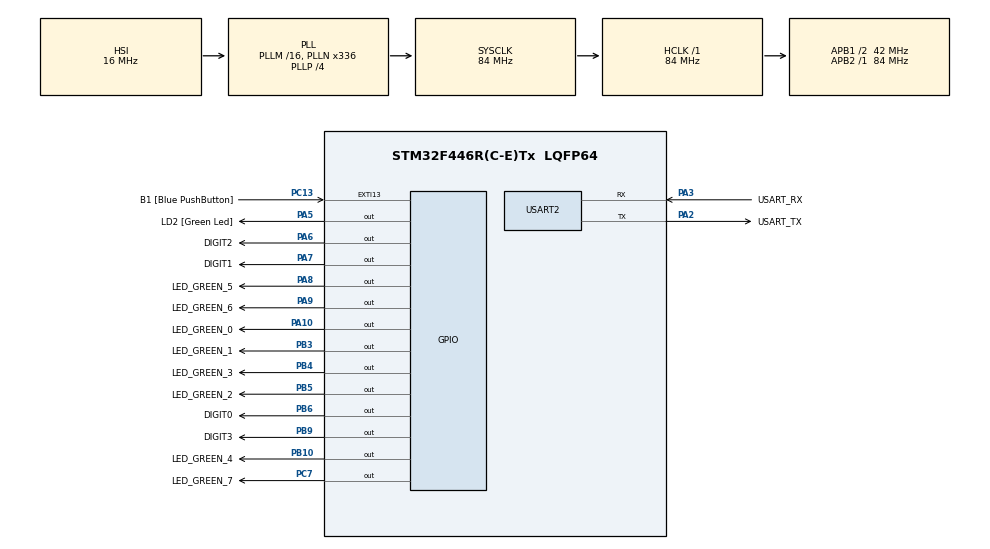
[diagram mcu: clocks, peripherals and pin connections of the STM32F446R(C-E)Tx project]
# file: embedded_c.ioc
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Mcu.Family=STM32F4
Mcu.Name=STM32F446R(C-E)Tx
Mcu.Package=LQFP64
NVIC.PriorityGroup=NVIC_PRIORITYGROUP_0
NVIC.TIM6_DAC_IRQn=true\:0\:0\:false\:false\:true\:true\:true\:true
PA10.GPIO_Label=LED_GREEN_0
PA10.Signal=GPIO_Output
PA13.GPIO_Label=TMS
PA13.Mode=Serial_Wire
PA13.Signal=SYS_JTMS-SWDIO
PA14.GPIO_Label=TCK
PA14.Mode=Serial_Wire
PA14.Signal=SYS_JTCK-SWCLK
PA2.GPIO_Label=USART_TX
PA2.Mode=Asynchronous
PA2.Signal=USART2_TX
PA3.GPIO_Label=USART_RX
PA3.Mode=Asynchronous
PA3.Signal=USART2_RX
PA5.GPIO_Label=LD2 [Green Led]
PA5.Signal=GPIO_Output
PA6.GPIO_Label=DIGIT2
PA6.Signal=GPIO_Output
PA7.GPIO_Label=DIGIT1
PA7.Signal=GPIO_Output
PA8.GPIO_Label=LED_GREEN_5
PA8.Signal=GPIO_Output
PA9.GPIO_Label=LED_GREEN_6
PA9.Signal=GPIO_Output
PB10.GPIO_Label=LED_GREEN_4
PB10.Signal=GPIO_Output
PB3.GPIO_Label=LED_GREEN_1
PB3.Signal=GPIO_Output
PB4.GPIO_Label=LED_GREEN_3
PB4.Signal=GPIO_Output
PB5.GPIO_Label=LED_GREEN_2
PB5.Signal=GPIO_Output
PB6.GPIO_Label=DIGIT0
PB6.Signal=GPIO_Output
PB9.GPIO_Label=DIGIT3
PB9.Signal=GPIO_Output
PC13.GPIO_Label=B1 [Blue PushButton]
PC13.GPIO_ModeDefaultEXTI=GPIO_MODE_IT_FALLING
PC13.Signal=GPXTI13
PC14-OSC32_IN.Mode=LSE-External-Oscillator
PC14-OSC32_IN.Signal=RCC_OSC32_IN
PC15-OSC32_OUT.Mode=LSE-External-Oscillator
PC15-OSC32_OUT.Signal=RCC_OSC32_OUT
PC7.GPIO_Label=LED_GREEN_7
PC7.Signal=GPIO_Output
PH0-OSC_IN.Mode=HSE-External-Oscillator
PH0-OSC_IN.Signal=RCC_OSC_IN
PH1-OSC_OUT.Mode=HSE-External-Oscillator
PH1-OSC_OUT.Signal=RCC_OSC_OUT
ProjectManager.HeapSize=0x1000
ProjectManager.StackSize=0x2000
ProjectManager.TargetToolchain=STM32CubeIDE
RCC.48MHZClocksFreq_Value=84000000
RCC.AHBFreq_Value=84000000
RCC.APB1CLKDivider=RCC_HCLK_DIV2
RCC.APB1Freq_Value=42000000
RCC.APB1TimFreq_Value=84000000
RCC.APB2Freq_Value=84000000
RCC.APB2TimFreq_Value=84000000
RCC.CortexFreq_Value=84000000
RCC.FLatency-AdvancedSettings=FLASH_LATENCY_2
RCC.HCLKFreq_Value=84000000
RCC.HSE_VALUE=8000000
RCC.HSI_VALUE=16000000
RCC.PLLN=336
RCC.PLLP=RCC_PLLP_DIV4
RCC.SYSCLKFreq_VALUE=84000000
RCC.SYSCLKSource=RCC_SYSCLKSOURCE_PLLCLK
RCC.USBFreq_Value=168000000
RCC.VCOOutputFreq_Value=336000000
TIM6.Period=9
TIM6.Prescaler=1049
USART2.VirtualMode=VM_ASYNC
VP_TIM6_VS_ClockSourceINT.Mode=Enable_Timer
board=NUCLEO-F446RE

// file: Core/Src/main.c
/* USER CODE BEGIN Header */
/**
  ******************************************************************************
  * @file           : main.c
  * @brief          : Main program body
  ******************************************************************************
  * @attention
  *
  * Copyright (c) 2025 STMicroelectronics.
  * All rights reserved.
  *
  * This software is licensed under terms that can be found in the LICENSE file
  * in the root directory of this software component.
  * If no LICENSE file comes with this software, it is provided AS-IS.
  *
  ******************************************************************************
  */
/* USER CODE END Header */
#include "main.h"

/* USER CODE BEGIN Includes */
#include <stdio.h>
#include <stdbool.h>
#include <stdint.h>
/* USER CODE END Includes */

/* USER CODE BEGIN PD */
#define SEG_A	4
#define SEG_B	16
#define SEG_C	2
#define SEG_D	128
#define SEG_E	64
#define SEG_F	1
#define SEG_G	8
#define SEG_DP	32
/* USER CODE END PD */

TIM_HandleTypeDef htim6;

UART_HandleTypeDef huart2;

/* USER CODE BEGIN PV */
const uint8_t hexDigits[16] =
{
		SEG_A | SEG_B | SEG_C | SEG_D | SEG_E | SEG_F,  // 0
		SEG_B | SEG_C,									// 1
		SEG_A | SEG_B | SEG_G | SEG_D | SEG_E,			// 2
		SEG_A | SEG_B | SEG_G | SEG_C | SEG_D,			// 3
		SEG_B | SEG_C | SEG_F | SEG_G,					// 4
		SEG_A | SEG_F | SEG_G | SEG_C | SEG_D,			// 5
		SEG_A | SEG_F | SEG_G | SEG_C | SEG_D | SEG_E,  // 6
		SEG_A | SEG_B | SEG_C,  						// 7
		SEG_A | SEG_B | SEG_C | SEG_D | SEG_E | SEG_F | SEG_G,	// 8
		SEG_A | SEG_B | SEG_C | SEG_D | SEG_F | SEG_G,			// 9
		SEG_A | SEG_B | SEG_C | SEG_E | SEG_F | SEG_G, 			// A
		SEG_C | SEG_D | SEG_E | SEG_F | SEG_G,					// B
		SEG_A | SEG_D | SEG_E | SEG_F,							// C
		SEG_B | SEG_C | SEG_D | SEG_E | SEG_G,					// D
		SEG_A | SEG_D | SEG_E | SEG_F | SEG_G,					// E
		SEG_A | SEG_E | SEG_F | SEG_G							// F
};
/* USER CODE END PV */

void SystemClock_Config(void);
static void MX_GPIO_Init(void);
static void MX_USART2_UART_Init(void);
static void MX_TIM6_Init(void);

/* USER CODE BEGIN 0 */
uint16_t cntr = 0;

void setSegments(uint8_t segments)
{
	segments ^= 0xFF; // invert all bits due to negative logic
	if (segments & 1) // bit 0
	{
		HAL_GPIO_WritePin(LED_GREEN_0_GPIO_Port, LED_GREEN_0_Pin, GPIO_PIN_SET);
	}
	else
	{
		HAL_GPIO_WritePin(LED_GREEN_0_GPIO_Port, LED_GREEN_0_Pin, GPIO_PIN_RESET);
	}
	if (segments & 2) // bit 1
	{
		HAL_GPIO_WritePin(LED_GREEN_1_GPIO_Port, LED_GREEN_1_Pin, GPIO_PIN_SET);
	}
	else
	{
		HAL_GPIO_WritePin(LED_GREEN_1_GPIO_Port, LED_GREEN_1_Pin, GPIO_PIN_RESET);
	}
	if (segments & 4) // bit 2
	{
		HAL_GPIO_WritePin(LED_GREEN_2_GPIO_Port, LED_GREEN_2_Pin, GPIO_PIN_SET);
	}
	else
	{
		HAL_GPIO_WritePin(LED_GREEN_2_GPIO_Port, LED_GREEN_2_Pin, GPIO_PIN_RESET);
	}
	if (segments & 8) // bit 3
	{
		HAL_GPIO_WritePin(LED_GREEN_3_GPIO_Port, LED_GREEN_3_Pin, GPIO_PIN_SET);
	}
	else
	{
		HAL_GPIO_WritePin(LED_GREEN_3_GPIO_Port, LED_GREEN_3_Pin, GPIO_PIN_RESET);
	}
	if (segments & 16) // bit 4
	{
		HAL_GPIO_WritePin(LED_GREEN_4_GPIO_Port, LED_GREEN_4_Pin, GPIO_PIN_SET);
	}
	else
	{
		HAL_GPIO_WritePin(LED_GREEN_4_GPIO_Port, LED_GREEN_4_Pin, GPIO_PIN_RESET);
	}
	if (segments & 32) // bit 5
	{
		HAL_GPIO_WritePin(LED_GREEN_5_GPIO_Port, LED_GREEN_5_Pin, GPIO_PIN_SET);
	}
	else
	{
		HAL_GPIO_WritePin(LED_GREEN_5_GPIO_Port, LED_GREEN_5_Pin, GPIO_PIN_RESET);
	}
	if (segments & 64) // bit 6
	{
		HAL_GPIO_WritePin(LED_GREEN_6_GPIO_Port, LED_GREEN_6_Pin, GPIO_PIN_SET);
	}
	else
	{
		HAL_GPIO_WritePin(LED_GREEN_6_GPIO_Port, LED_GREEN_6_Pin, GPIO_PIN_RESET);
	}
	if (segments & 128) // bit 7
	{
		HAL_GPIO_WritePin(LED_GREEN_7_GPIO_Port, LED_GREEN_7_Pin, GPIO_PIN_SET);
	}
	else
	{
		HAL_GPIO_WritePin(LED_GREEN_7_GPIO_Port, LED_GREEN_7_Pin, GPIO_PIN_RESET);
	}
}

void setDigit(uint8_t digit)
{
	switch (digit)
	{
	case 0:
		HAL_GPIO_WritePin(DIGIT0_GPIO_Port, DIGIT0_Pin, GPIO_PIN_RESET);
		HAL_GPIO_WritePin(DIGIT1_GPIO_Port, DIGIT1_Pin, GPIO_PIN_SET);
		HAL_GPIO_WritePin(DIGIT2_GPIO_Port, DIGIT2_Pin, GPIO_PIN_SET);
		HAL_GPIO_WritePin(DIGIT3_GPIO_Port, DIGIT3_Pin, GPIO_PIN_SET);
		break;

	case 1:
		HAL_GPIO_WritePin(DIGIT0_GPIO_Port, DIGIT0_Pin, GPIO_PIN_SET);
		HAL_GPIO_WritePin(DIGIT1_GPIO_Port, DIGIT1_Pin, GPIO_PIN_RESET);
		HAL_GPIO_WritePin(DIGIT2_GPIO_Port, DIGIT2_Pin, GPIO_PIN_SET);
		HAL_GPIO_WritePin(DIGIT3_GPIO_Port, DIGIT3_Pin, GPIO_PIN_SET);
		break;

	case 2:
		HAL_GPIO_WritePin(DIGIT0_GPIO_Port, DIGIT0_Pin, GPIO_PIN_SET);
		HAL_GPIO_WritePin(DIGIT1_GPIO_Port, DIGIT1_Pin, GPIO_PIN_SET);
		HAL_GPIO_WritePin(DIGIT2_GPIO_Port, DIGIT2_Pin, GPIO_PIN_RESET);
		HAL_GPIO_WritePin(DIGIT3_GPIO_Port, DIGIT3_Pin, GPIO_PIN_SET);
		break;

	case 3:
		HAL_GPIO_WritePin(DIGIT0_GPIO_Port, DIGIT0_Pin, GPIO_PIN_SET);
		HAL_GPIO_WritePin(DIGIT1_GPIO_Port, DIGIT1_Pin, GPIO_PIN_SET);
		HAL_GPIO_WritePin(DIGIT2_GPIO_Port, DIGIT2_Pin, GPIO_PIN_SET);
		HAL_GPIO_WritePin(DIGIT3_GPIO_Port, DIGIT3_Pin, GPIO_PIN_RESET);
		break;

	default:
		HAL_GPIO_WritePin(DIGIT0_GPIO_Port, DIGIT0_Pin, GPIO_PIN_SET);
		HAL_GPIO_WritePin(DIGIT1_GPIO_Port, DIGIT1_Pin, GPIO_PIN_SET);
		HAL_GPIO_WritePin(DIGIT2_GPIO_Port, DIGIT2_Pin, GPIO_PIN_SET);
		HAL_GPIO_WritePin(DIGIT3_GPIO_Port, DIGIT3_Pin, GPIO_PIN_SET);
		break;
	}
}

#define SEVEN_SEG_DIGIT_NUM	4

volatile uint8_t SSD_sevenSegBuf[SEVEN_SEG_DIGIT_NUM] = { 0 };
volatile bool SSD_enableDisplay = true;
volatile bool SSD_triggerUpdate = true;

void displayHandler(void)
{
	static uint8_t digitCntr = 0;
	static uint8_t sevenSegBufMirror[SEVEN_SEG_DIGIT_NUM] = { 0 };
	uint8_t i;
	if (SSD_enableDisplay)
	{
		digitCntr++;
		if (digitCntr >= SEVEN_SEG_DIGIT_NUM)
		{
			if (SSD_triggerUpdate)
			{
				for (i = 0; i < SEVEN_SEG_DIGIT_NUM; i++)
				{
					sevenSegBufMirror[i] = SSD_sevenSegBuf[i];
				}
				SSD_triggerUpdate = false;
			}
			digitCntr = 0;
		}
		setDigit(0xFF);
		setSegments(sevenSegBufMirror[digitCntr]);
		setDigit(digitCntr);
  }
  else
  {
	setDigit(0xFF);
  }
}
/* USER CODE END 0 */

int main(void)
{

  /* MCU Configuration--------------------------------------------------------*/

  /* Reset of all peripherals, Initializes the Flash interface and the Systick. */
  HAL_Init();

  /* Configure the system clock */
  SystemClock_Config();

  /* Initialize all configured peripherals */
  MX_GPIO_Init();
  MX_USART2_UART_Init();
  MX_TIM6_Init();
  /* USER CODE BEGIN 2 */
  HAL_GPIO_WritePin(DIGIT0_GPIO_Port, DIGIT0_Pin, GPIO_PIN_SET);
  HAL_GPIO_WritePin(DIGIT1_GPIO_Port, DIGIT1_Pin, GPIO_PIN_SET);
  HAL_GPIO_WritePin(DIGIT2_GPIO_Port, DIGIT2_Pin, GPIO_PIN_SET);
  HAL_GPIO_WritePin(DIGIT3_GPIO_Port, DIGIT3_Pin, GPIO_PIN_SET);
  HAL_TIM_Base_Start_IT(&htim6);
  /* USER CODE END 2 */

  /* Infinite loop */
  /* USER CODE BEGIN WHILE */
  while (1)
  {
	printf("Hello world! cntr: %d\r\n", cntr);
	cntr++;
	SSD_sevenSegBuf[0] = hexDigits[cntr & 0xF];
	SSD_sevenSegBuf[1] = hexDigits[(cntr >> 4) & 0xF];
	SSD_sevenSegBuf[2] = hexDigits[(cntr >> 8) & 0xF];
	SSD_sevenSegBuf[3] = hexDigits[(cntr >> 12) & 0xF];
	SSD_triggerUpdate = true;
    HAL_Delay(500);
    /* USER CODE END WHILE */

  }
}

void SystemClock_Config(void)
{
  RCC_OscInitTypeDef RCC_OscInitStruct = {0};
  RCC_ClkInitTypeDef RCC_ClkInitStruct = {0};

  /** Configure the main internal regulator output voltage
  */
  __HAL_RCC_PWR_CLK_ENABLE();
  __HAL_PWR_VOLTAGESCALING_CONFIG(PWR_REGULATOR_VOLTAGE_SCALE3);

  /** Initializes the RCC Oscillators according to the specified parameters
  * in the RCC_OscInitTypeDef structure.
  */
  RCC_OscInitStruct.OscillatorType = RCC_OSCILLATORTYPE_HSI;
  RCC_OscInitStruct.HSIState = RCC_HSI_ON;
  RCC_OscInitStruct.HSICalibrationValue = RCC_HSICALIBRATION_DEFAULT;
  RCC_OscInitStruct.PLL.PLLState = RCC_PLL_ON;
  RCC_OscInitStruct.PLL.PLLSource = RCC_PLLSOURCE_HSI;
  RCC_OscInitStruct.PLL.PLLM = 16;
  RCC_OscInitStruct.PLL.PLLN = 336;
  RCC_OscInitStruct.PLL.PLLP = RCC_PLLP_DIV4;
  RCC_OscInitStruct.PLL.PLLQ = 2;
  RCC_OscInitStruct.PLL.PLLR = 2;
  if (HAL_RCC_OscConfig(&RCC_OscInitStruct) != HAL_OK)
  {
    Error_Handler();
  }

  /** Initializes the CPU, AHB and APB buses clocks
  */
  RCC_ClkInitStruct.ClockType = RCC_CLOCKTYPE_HCLK|RCC_CLOCKTYPE_SYSCLK
                              |RCC_CLOCKTYPE_PCLK1|RCC_CLOCKTYPE_PCLK2;
  RCC_ClkInitStruct.SYSCLKSource = RCC_SYSCLKSOURCE_PLLCLK;
  RCC_ClkInitStruct.AHBCLKDivider = RCC_SYSCLK_DIV1;
  RCC_ClkInitStruct.APB1CLKDivider = RCC_HCLK_DIV2;
  RCC_ClkInitStruct.APB2CLKDivider = RCC_HCLK_DIV1;

  if (HAL_RCC_ClockConfig(&RCC_ClkInitStruct, FLASH_LATENCY_2) != HAL_OK)
  {
    Error_Handler();
  }
}

static void MX_TIM6_Init(void)
{

  TIM_MasterConfigTypeDef sMasterConfig = {0};

  htim6.Instance = TIM6;
  htim6.Init.Prescaler = 1049;
  htim6.Init.CounterMode = TIM_COUNTERMODE_UP;
  htim6.Init.Period = 9;
  htim6.Init.AutoReloadPreload = TIM_AUTORELOAD_PRELOAD_DISABLE;
  if (HAL_TIM_Base_Init(&htim6) != HAL_OK)
  {
    Error_Handler();
  }
  sMasterConfig.MasterOutputTrigger = TIM_TRGO_RESET;
  sMasterConfig.MasterSlaveMode = TIM_MASTERSLAVEMODE_DISABLE;
  if (HAL_TIMEx_MasterConfigSynchronization(&htim6, &sMasterConfig) != HAL_OK)
  {
    Error_Handler();
  }

}

static void MX_USART2_UART_Init(void)
{

  huart2.Instance = USART2;
  huart2.Init.BaudRate = 115200;
  huart2.Init.WordLength = UART_WORDLENGTH_8B;
  huart2.Init.StopBits = UART_STOPBITS_1;
  huart2.Init.Parity = UART_PARITY_NONE;
  huart2.Init.Mode = UART_MODE_TX_RX;
  huart2.Init.HwFlowCtl = UART_HWCONTROL_NONE;
  huart2.Init.OverSampling = UART_OVERSAMPLING_16;
  if (HAL_UART_Init(&huart2) != HAL_OK)
  {
    Error_Handler();
  }

}

static void MX_GPIO_Init(void)
{
  GPIO_InitTypeDef GPIO_InitStruct = {0};

  /* GPIO Ports Clock Enable */
  __HAL_RCC_GPIOC_CLK_ENABLE();
  __HAL_RCC_GPIOH_CLK_ENABLE();
  __HAL_RCC_GPIOA_CLK_ENABLE();
  __HAL_RCC_GPIOB_CLK_ENABLE();

  /*Configure GPIO pin Output Level */
  HAL_GPIO_WritePin(GPIOA, LD2_Pin|DIGIT2_Pin|DIGIT1_Pin|LED_GREEN_5_Pin
                          |LED_GREEN_6_Pin|LED_GREEN_0_Pin, GPIO_PIN_RESET);

  /*Configure GPIO pin Output Level */
  HAL_GPIO_WritePin(GPIOB, LED_GREEN_4_Pin|LED_GREEN_1_Pin|LED_GREEN_3_Pin|LED_GREEN_2_Pin
                          |DIGIT0_Pin|DIGIT3_Pin, GPIO_PIN_RESET);

  /*Configure GPIO pin Output Level */
  HAL_GPIO_WritePin(LED_GREEN_7_GPIO_Port, LED_GREEN_7_Pin, GPIO_PIN_RESET);

  /*Configure GPIO pin : B1_Pin */
  GPIO_InitStruct.Pin = B1_Pin;
  GPIO_InitStruct.Mode = GPIO_MODE_IT_FALLING;
  GPIO_InitStruct.Pull = GPIO_NOPULL;
  HAL_GPIO_Init(B1_GPIO_Port, &GPIO_InitStruct);

  /*Configure GPIO pins : LD2_Pin DIGIT2_Pin DIGIT1_Pin LED_GREEN_5_Pin
                           LED_GREEN_6_Pin LED_GREEN_0_Pin */
  GPIO_InitStruct.Pin = LD2_Pin|DIGIT2_Pin|DIGIT1_Pin|LED_GREEN_5_Pin
                          |LED_GREEN_6_Pin|LED_GREEN_0_Pin;
  GPIO_InitStruct.Mode = GPIO_MODE_OUTPUT_PP;
  GPIO_InitStruct.Pull = GPIO_NOPULL;
  GPIO_InitStruct.Speed = GPIO_SPEED_FREQ_LOW;
  HAL_GPIO_Init(GPIOA, &GPIO_InitStruct);

  /*Configure GPIO pins : LED_GREEN_4_Pin LED_GREEN_1_Pin LED_GREEN_3_Pin LED_GREEN_2_Pin
                           DIGIT0_Pin DIGIT3_Pin */
  GPIO_InitStruct.Pin = LED_GREEN_4_Pin|LED_GREEN_1_Pin|LED_GREEN_3_Pin|LED_GREEN_2_Pin
                          |DIGIT0_Pin|DIGIT3_Pin;
  GPIO_InitStruct.Mode = GPIO_MODE_OUTPUT_PP;
  GPIO_InitStruct.Pull = GPIO_NOPULL;
  GPIO_InitStruct.Speed = GPIO_SPEED_FREQ_LOW;
  HAL_GPIO_Init(GPIOB, &GPIO_InitStruct);

  /*Configure GPIO pin : LED_GREEN_7_Pin */
  GPIO_InitStruct.Pin = LED_GREEN_7_Pin;
  GPIO_InitStruct.Mode = GPIO_MODE_OUTPUT_PP;
  GPIO_InitStruct.Pull = GPIO_NOPULL;
  GPIO_InitStruct.Speed = GPIO_SPEED_FREQ_LOW;
  HAL_GPIO_Init(LED_GREEN_7_GPIO_Port, &GPIO_InitStruct);

}

void Error_Handler(void)
{
  __disable_irq();
  while (1)
  {
  }
}
